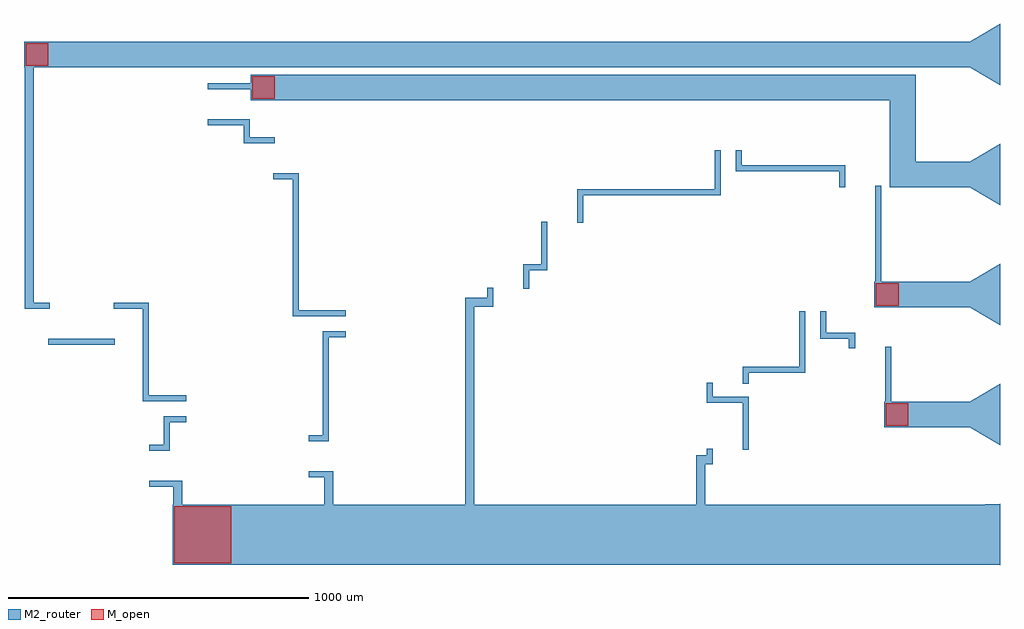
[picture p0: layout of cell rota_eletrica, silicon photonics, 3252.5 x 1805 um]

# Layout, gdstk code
import gdstk
lib = gdstk.Library(unit=1e-6, precision=1e-09)
def R(c, l, rs):  # rectangles x0, y0, x1, y1
    for r in rs: c.add(gdstk.rectangle(r[:2], r[2:], *l))
def P(c, l, *ps):  # polygons
    for p in ps: c.add(gdstk.Polygon(p, *l))
M2_router = (12, 0)
M_open = (13, 0)

rota_eletrica = lib.new_cell('rota_eletrica')
R(rota_eletrica, M2_router, [(1640,-4250,4297.5,-4050), (1643,-4050,1673,-3971.29), (2145,-4050,2175,-3938.7), (1562.49,-3991.29,1643,-3971.29), (2094.516,-3958.7,2145,-3938.7), (3419.969,-3885,3439.969,-3863.518), (4011.294,-3793,4297.5,-3707), (4014.294,-3707,4034.294,-3524.5), (1226.01,-3516.9,1448.25,-3496.9), (1148,-3396.965,1178,-2593), (1178,-3396.965,1230.01,-3376.965), (3978.704,-3393,4297.5,-3307), (2689.294,-3360,2709.294,-3327.094), (3981.704,-3307,4001.704,-2988.076), (1758.036,-2666.29,1900,-2646.29), (1145,-2593,4297.5,-2507)])
P(rota_eletrica, M2_router, [(2645,-4050),(2645,-3390),(2709.294,-3390),(2709.294,-3360),(2615,-3360),(2615,-4050)],
  [(3415,-4050),(3415,-3915),(3439.969,-3915),(3439.969,-3885),(3385,-3885),(3385,-4050)],
  [(4297.5,-2907),(4116,-2907),(4116,-2617),(1900,-2617),(1900,-2703),(4030,-2703),(4030,-2993),(4297.5,-2993)],
  [(3881.704,-2992.076),(3881.704,-2920),(3536.25,-2920),(3536.25,-2868.706),(3516.25,-2868.706),(3516.25,-2940),(3861.704,-2940),(3861.704,-2992.076)],
  [(3446.25,-2868.706),(3446.25,-3000),(2988.663,-3000),(2988.663,-3111.006),(3008.663,-3111.006),(3008.663,-3020),(3466.25,-3020),(3466.25,-2868.706)],
  [(2868.663,-3107.006),(2868.663,-3250),(2809.294,-3250),(2809.294,-3331.094),(2829.294,-3331.094),(2829.294,-3270),(2888.663,-3270),(2888.663,-3107.006)],
  [(3914.294,-3528.5),(3914.294,-3477),(3819.012,-3477),(3819.012,-3405.13),(3799.012,-3405.13),(3799.012,-3497),(3894.294,-3497),(3894.294,-3528.5)],
  [(3729.012,-3405.13),(3729.012,-3590),(3539.889,-3590),(3539.889,-3647.43),(3559.889,-3647.43),(3559.889,-3610),(3749.012,-3610),(3749.012,-3405.13)],
  [(3419.889,-3643.43),(3419.889,-3710),(3539.969,-3710),(3539.969,-3867.518),(3559.969,-3867.518),(3559.969,-3690),(3439.889,-3690),(3439.889,-3643.43)],
  [(1562.49,-3871.29),(1630,-3871.29),(1630,-3776.008),(1685.076,-3776.008),(1685.076,-3756.008),(1610,-3756.008),(1610,-3851.29),(1562.49,-3851.29)],
  [(1685.076,-3686.008),(1560,-3686.008),(1560,-3376.885),(1444.25,-3376.885),(1444.25,-3396.885),(1540,-3396.885),(1540,-3706.008),(1685.076,-3706.008)],
  [(2094.516,-3838.7),(2160,-3838.7),(2160,-3650),(2160,-3493.246),(2217.102,-3493.246),(2217.102,-3473.246),(2140,-3473.246),(2140,-3650),(2140,-3818.7),(2094.516,-3818.7)],
  [(2217.102,-3403.246),(2060,-3403.246),(2060,-2945.659),(1976.276,-2945.659),(1976.276,-2965.659),(2040,-2965.659),(2040,-3423.246),(2217.102,-3423.246)],
  [(1980.276,-2825.659),(1898,-2825.659),(1898,-2766.29),(1758.036,-2766.29),(1758.036,-2786.29),(1878,-2786.29),(1878,-2845.659),(1980.276,-2845.659)],
  [(4297.5,-4250),(4397.5,-4252.5),(4397.5,-4047.5),(4297.5,-4050)],
  [(4297.5,-3793),(4397.5,-3852.5),(4397.5,-3647.5),(4297.5,-3707)],
  [(4297.5,-3393),(4397.5,-3452.5),(4397.5,-3247.5),(4297.5,-3307)],
  [(4297.5,-2993),(4397.5,-3052.5),(4397.5,-2847.5),(4297.5,-2907)],
  [(4297.5,-2593),(4397.5,-2652.5),(4397.5,-2447.5),(4297.5,-2507)])
R(rota_eletrica, M_open, [(1645,-4245,1835,-4055), (4016.294,-3788,4092.294,-3712), (3983.704,-3388,4059.704,-3312), (1905,-2698,1981,-2622), (1150,-2588,1226,-2512)])

lib.write_gds('rota_eletrica.gds')
